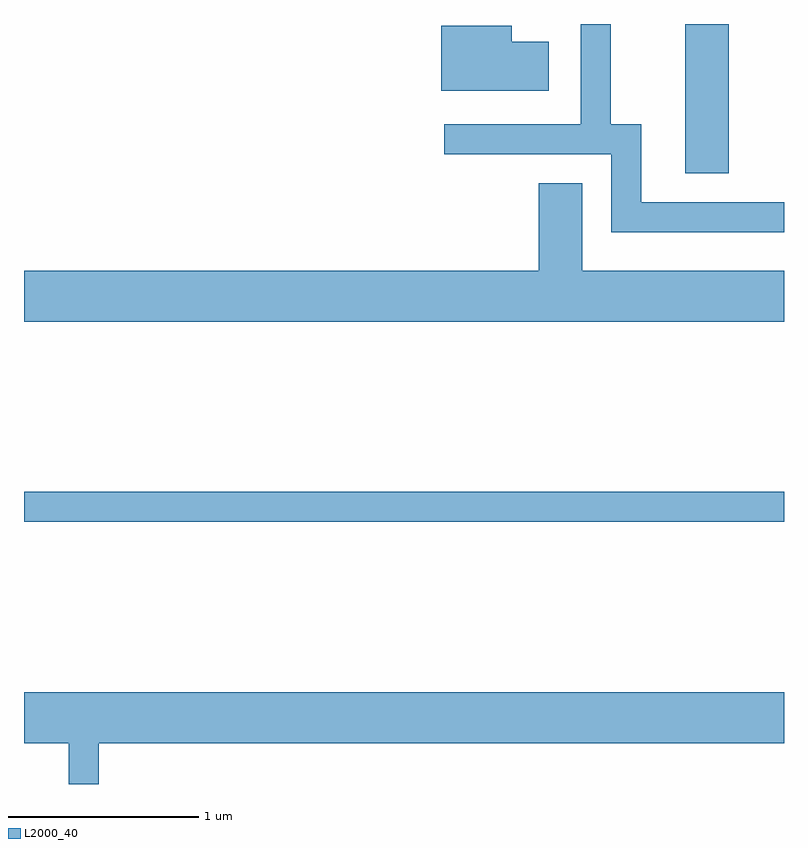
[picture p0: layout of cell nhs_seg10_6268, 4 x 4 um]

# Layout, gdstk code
import gdstk
lib = gdstk.Library(unit=1e-6, precision=1e-09)
def R(c, l, rs):  # rectangles x0, y0, x1, y1
    for r in rs: c.add(gdstk.rectangle(r[:2], r[2:], *l))
def P(c, l, *ps):  # polygons
    for p in ps: c.add(gdstk.Polygon(p, *l))
L2000_40 = (2000, 40)

nhs_seg10_6268 = lib.new_cell('nhs_seg10_6268')
R(nhs_seg10_6268, L2000_40, [(369.611,2183.901,373.611,2184.059), (373.091,2185.736,373.319,2186.522)])
P(nhs_seg10_6268, L2000_40, [(373.611,2185.584),(372.859,2185.584),(372.859,2185.994),(372.699,2185.994),(372.699,2186.522),(372.541,2186.522),(372.541,2185.994),(371.823,2185.994),(371.823,2185.836),(372.701,2185.836),(372.701,2185.426),(373.611,2185.426)],
  [(372.374,2186.429),(372.179,2186.429),(372.179,2186.514),(371.806,2186.514),(371.806,2186.171),(372.374,2186.171)],
  [(373.611,2185.224),(372.549,2185.224),(372.549,2185.684),(372.321,2185.684),(372.321,2185.224),(369.611,2185.224),(369.611,2184.956),(373.611,2184.956)],
  [(370.004,2182.736),(373.611,2182.736),(373.611,2183.004),(369.611,2183.004),(369.611,2182.736),(369.846,2182.736),(369.846,2182.522),(370.004,2182.522)])

lib.write_gds('nhs_seg10_6268.gds')
